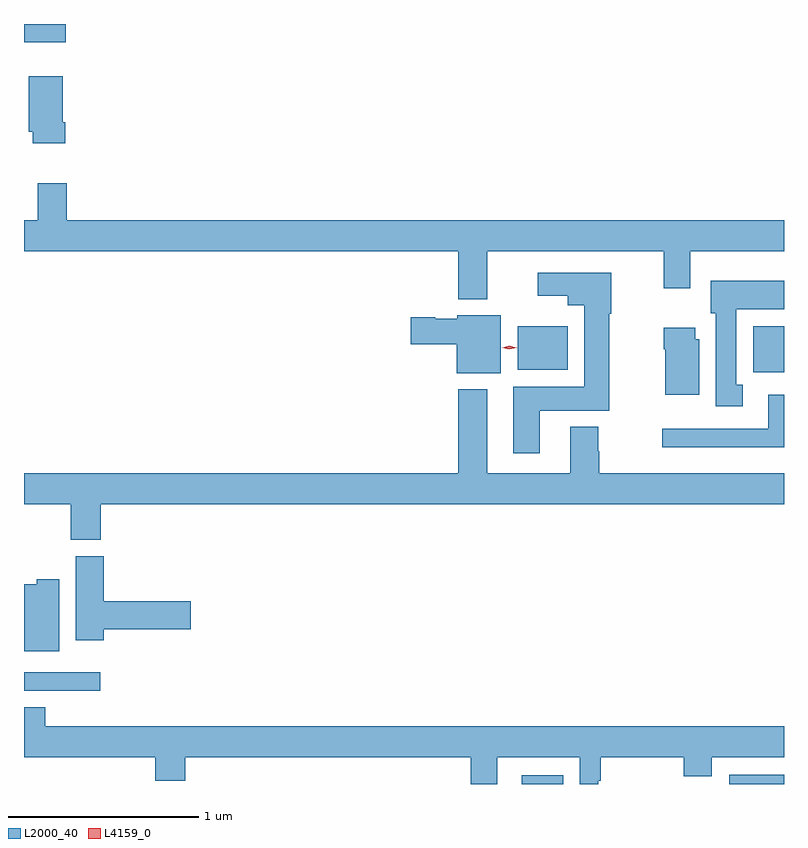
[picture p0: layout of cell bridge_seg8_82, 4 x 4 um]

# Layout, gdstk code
import gdstk
lib = gdstk.Library(unit=1e-6, precision=1e-09)
def R(c, l, rs):  # rectangles x0, y0, x1, y1
    for r in rs: c.add(gdstk.rectangle(r[:2], r[2:], *l))
def P(c, l, *ps):  # polygons
    for p in ps: c.add(gdstk.Polygon(p, *l))
L2000_40 = (2000, 40)
L4159_0 = (4159, 0)

bridge_seg8_82 = lib.new_cell('bridge_seg8_82')
R(bridge_seg8_82, L2000_40, [(698.277,1157.652,698.494,1157.698), (699.369,1157.652,699.657,1157.7), (695.657,1158.144,696.058,1158.24), (699.494,1159.82,699.657,1160.062), (698.255,1159.832,698.518,1160.062), (695.657,1161.555,695.878,1161.652)])
P(bridge_seg8_82, L2000_40, [(695.873,1161.136),(695.86,1161.136),(695.86,1161.376),(695.681,1161.376),(695.681,1161.084),(695.702,1161.084),(695.702,1161.024),(695.873,1161.024)],
  [(695.729,1160.815),(695.729,1160.62),(695.657,1160.62),(695.657,1160.456),(697.943,1160.456),(697.943,1160.204),(698.095,1160.204),(698.095,1160.456),(699.023,1160.456),(699.023,1160.262),(699.163,1160.262),(699.163,1160.456),(699.657,1160.456),(699.657,1160.62),(695.882,1160.62),(695.882,1160.815)],
  [(698.371,1159.616),(698.736,1159.616),(698.736,1160.126),(698.749,1160.126),(698.749,1160.344),(698.361,1160.344),(698.361,1160.222),(698.519,1160.222),(698.519,1160.171),(698.606,1160.171),(698.606,1159.744),(698.231,1159.744),(698.231,1159.392),(698.371,1159.392)],
  [(699.439,1159.754),(699.406,1159.754),(699.406,1160.15),(699.657,1160.15),(699.657,1160.302),(699.272,1160.302),(699.272,1160.13),(699.299,1160.13),(699.299,1159.641),(699.439,1159.641)],
  [(698.167,1160.119),(697.938,1160.119),(697.938,1160.101),(697.821,1160.101),(697.821,1160.109),(697.692,1160.109),(697.692,1159.967),(697.934,1159.967),(697.934,1159.814),(698.167,1159.814)],
  [(699.211,1159.992),(699.19,1159.992),(699.19,1160.053),(699.025,1160.053),(699.025,1159.94),(699.032,1159.94),(699.032,1159.7),(699.211,1159.7)],
  [(696.062,1159.124),(699.657,1159.124),(699.657,1159.288),(698.684,1159.288),(698.684,1159.404),(698.679,1159.404),(698.679,1159.531),(698.531,1159.531),(698.531,1159.288),(698.095,1159.288),(698.095,1159.729),(697.943,1159.729),(697.943,1159.288),(695.657,1159.288),(695.657,1159.124),(695.902,1159.124),(695.902,1158.937),(696.062,1158.937)],
  [(699.657,1159.702),(699.575,1159.702),(699.575,1159.521),(699.015,1159.521),(699.015,1159.424),(699.657,1159.424)],
  [(696.077,1158.467),(696.535,1158.467),(696.535,1158.614),(696.077,1158.614),(696.077,1158.852),(695.93,1158.852),(695.93,1158.408),(696.077,1158.408)],
  [(695.842,1158.73),(695.724,1158.73),(695.724,1158.703),(695.657,1158.703),(695.657,1158.35),(695.842,1158.35)],
  [(698.149,1157.792),(698.583,1157.792),(698.583,1157.652),(698.68,1157.652),(698.68,1157.67),(698.692,1157.67),(698.692,1157.792),(699.13,1157.792),(699.13,1157.693),(699.277,1157.693),(699.277,1157.792),(699.657,1157.792),(699.657,1157.956),(695.768,1157.956),(695.768,1158.055),(695.657,1158.055),(695.657,1157.792),(696.349,1157.792),(696.349,1157.668),(696.506,1157.668),(696.506,1157.792),(698.009,1157.792),(698.009,1157.652),(698.149,1157.652)])
P(bridge_seg8_82, L4159_0, [(698.211,1159.939),(698.173,1159.949),(698.173,1159.949),(698.173,1159.949),(698.211,1159.959),(698.25,1159.949),(698.25,1159.949),(698.25,1159.949)])

lib.write_gds('bridge_seg8_82.gds')
